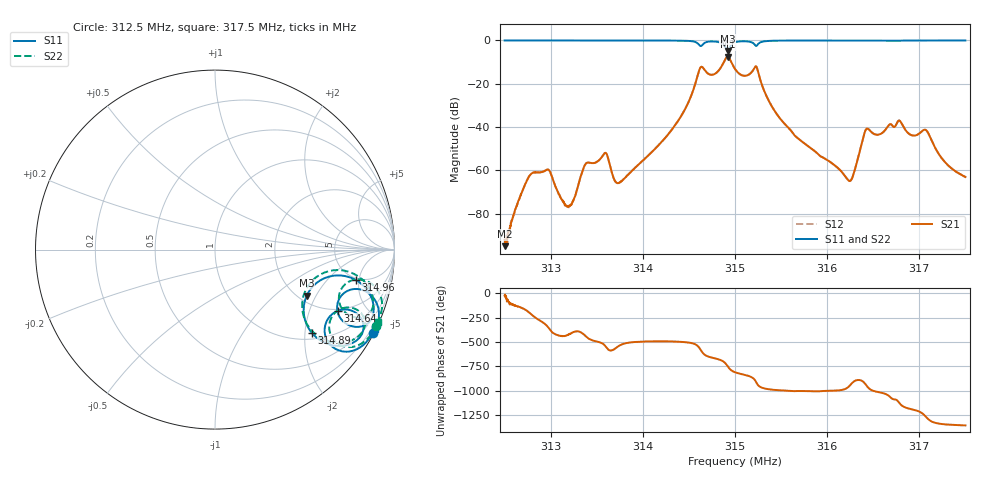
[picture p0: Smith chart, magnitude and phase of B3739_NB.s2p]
! Matrix data file written by TouchstoneData, EPCOS AG
! FILENAME: "newformat_B3739_SB.s2p"
! COMMENT: "PORTEX1 93PS; PORTEX2 179.5PS; 13 Mar 2008 S"
! INFO: nport=2, nfreq=1601
! DATE: "Wed Sep 19 14:54:27 2012"
! USER: "Wilfried Schott"
! port | pin | signal
!  1  |  1  |  IN
!  2  |  4  |  OUT
# MHZ S MA R 50
! freq  magS11 angS11  magS21 angS21  magS12 angS12  magS22 angS22
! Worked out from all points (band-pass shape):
!   1601 points, 312.5 MHz to 317.5 MHz, reference 50 ohm
!   highest |S21| = -7.48 dB at 314.92 MHz (marker M1); lowest = -94.9 dB at 312.51 MHz (marker M2)
!   |S21| within 3 dB of the highest: 314.8735 MHz to 314.9643 MHz (90.76 kHz wide, 0.0288 % of centre)
!   lowest |S11| = -4.9 dB at 314.92 MHz (marker M3), VSWR 3.67, Z = 110 - j84.1 ohm
!   |S11| at or under -10 dB: nowhere
!   |S22| runs from -5.1 to -0.1 dB; largest |S21 - S12| = 0.00038
!   S11 on the Smith chart (normalised r, x): 312.5 MHz: 0.05, -4.04; 314.64 MHz: 1.92, -3.15; 314.89 MHz: 1.14, -2.18; 314.96 MHz: 4.74, -4.49; 317.5 MHz: 0.06, -4.28
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312.5  0.9946 -27.8  2.527e-05 -22.4  1.796e-05 -27.8  0.9932 -25.5
312.5063  0.9946 -27.8  1.79e-05 -17.2  1.935e-05 -25.6  0.9931 -25.5
312.8031  0.9936 -28.0  0.0008726 134.0  0.0008744 133.7  0.9917 -25.6
312.9781  0.993 -28.1  0.001033 4.1  0.001036 4.0  0.9914 -25.7
313.1906  0.9938 -28.2  0.0001473 -65.9  0.0001491 -63.0  0.9924 -25.9
313.3344  0.9928 -28.4  0.0008329 -43.7  0.0008328 -43.9  0.992 -26.0
313.5906  0.9922 -28.7  0.002539 -178.7  0.002532 -178.6  0.9902 -26.3
313.7406  0.9935 -28.9  0.0005159 -178.7  0.0005101 -178.9  0.992 -26.5
314.1687  0.9913 -30.3  0.003795 -132.0  0.0038 -131.9  0.9907 -27.9
314.6406  0.7642 -26.5  0.245 120.9  0.2449 121.0  0.7702 -25.7
314.8906  0.7148 -40.7  0.3541 7.2  0.3539 7.2  0.7023 -39.9
314.9187  0.5716 -26.7  0.4228 -25.8  0.4224 -25.8  0.5531 -24.2
314.9625  0.8019 -12.2  0.3047 -71.8  0.3046 -71.8  0.7938 -10.1
315  0.9037 -16.5  0.2193 -89.9  0.2192 -89.8  0.8911 -14.4
315.2312  0.7444 -21.7  0.248 165.5  0.2479 165.5  0.7355 -17.9
315.45  0.9835 -21.8  0.0204 87.5  0.02039 87.5  0.9856 -19.3
315.8344  0.9929 -24.6  0.003121 75.9  0.003123 75.7  0.9923 -22.1
316.2469  0.9935 -25.7  0.0005658 134.4  0.0005672 134.5  0.9926 -23.2
316.4219  0.9854 -25.8  0.008851 140.2  0.00885 140.1  0.9845 -23.5
316.6687  0.9872 -26.3  0.01103 28.6  0.01102 28.6  0.9858 -24.0
317.0719  0.9855 -26.1  0.008532 172.8  0.008535 172.9  0.9844 -23.7
317.5  0.994 -26.3  0.0007055 84.6  0.0007097 85.0  0.9924 -23.9
